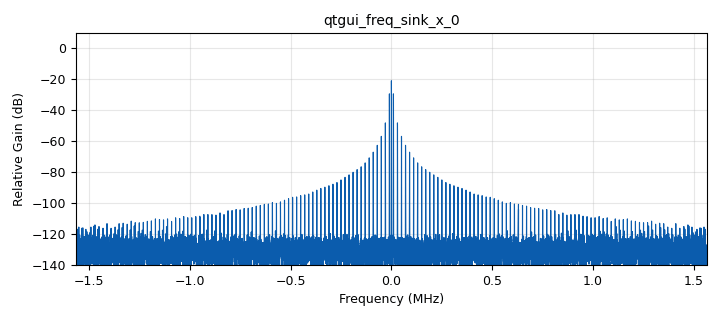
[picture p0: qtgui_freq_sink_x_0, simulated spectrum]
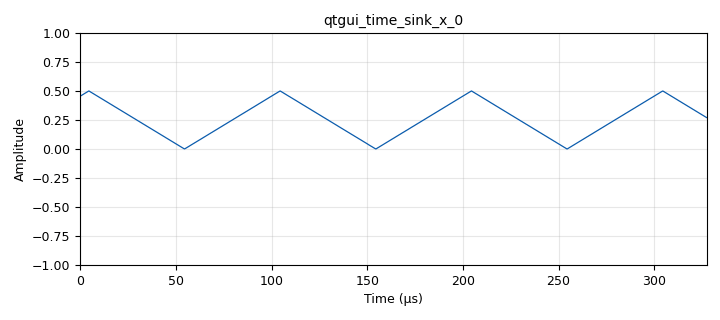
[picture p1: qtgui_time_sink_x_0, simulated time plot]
options:
  parameters:
    author: RafaelFerreira
    generate_options: qt_gui
    id: lab2_comu1_B1B_G4
    output_language: python
    title: labcom_RRFP
  states: {}

blocks:
- name: A
  id: variable_qtgui_range
  parameters:
    label: Amplitud de señal
    start: '0'
    step: '1e-2'
    stop: '500e-3'
    value: '500e-3'
  states: {}
- name: GTX
  id: variable_qtgui_range
  parameters:
    label: Ganancia del transmisor
    start: '0'
    step: '500e-3'
    stop: '30'
    value: '500e-3'
  states: {}
- name: 'No'
  id: variable_qtgui_range
  parameters:
    label: Amplitud ruido
    start: '0'
    step: '1e-6'
    stop: '1e-1'
    value: '1e-4'
  states: {}
- name: fc
  id: variable_qtgui_range
  parameters:
    label: Frecuencia portadora
    start: 50e6
    step: 100e3
    stop: 1e9
    value: 200e6
  states: {}
- name: fcut
  id: variable_qtgui_range
  parameters:
    start: '0'
    step: '100'
    stop: samp_rate/2
    value: samp_rate/2
  states: {}
- name: fm
  id: variable_qtgui_range
  parameters:
    label: Frecuencia de señal
    start: '1000'
    step: '1000'
    stop: 1e6
    value: 1e4
  states: {}
- name: samp_rate
  id: variable
  parameters:
    value: 25e6/8
  states: {}
- name: t_band
  id: variable_qtgui_range
  parameters:
    label: Banda de transicion
    start: '0'
    step: '100'
    stop: samp_rate/20
    value: samp_rate/200
  states: {}
- name: analog_noise_source_x_0
  id: analog_noise_source_x
  parameters:
    amp: 'No'
    noise_type: analog.GR_GAUSSIAN
    seed: '0'
    type: float
  states: {}
- name: analog_sig_source_x_0
  id: analog_sig_source_x
  parameters:
    amp: A
    freq: fm
    offset: '0'
    phase: '0'
    samp_rate: samp_rate
    type: float
    waveform: analog.GR_TRI_WAVE
  states: {}
- name: blocks_add_xx_0
  id: blocks_add_xx
  parameters:
    type: float
  states: {}
- name: blocks_float_to_complex_0
  id: blocks_float_to_complex
  parameters: {}
  states: {}
- name: blocks_throttle2_0
  id: blocks_throttle2
  parameters:
    samples_per_second: samp_rate
    type: float
  states: {}
- name: low_pass_filter_0
  id: low_pass_filter
  parameters:
    cutoff_freq: fcut
    decim: '1'
    gain: '1'
    samp_rate: samp_rate
    type: fir_filter_fff
    width: t_band
    win: window.WIN_HAMMING
  states: {}
- name: qtgui_freq_sink_x_0
  id: qtgui_freq_sink_x
  parameters:
    bw: samp_rate
    fc: '0'
    fftsize: '16384'
    type: float
  states: {}
- name: qtgui_time_sink_x_0
  id: qtgui_time_sink_x
  parameters:
    size: '1024'
    srate: samp_rate
    type: float
  states: {}
- name: uhd_usrp_sink_0
  id: uhd_usrp_sink
  parameters:
    ant0: '"TX/RX"'
    center_freq0: fc
    gain0: GTX
    samp_rate: samp_rate
    sync: pc_clock
    type: fc32
  states: {}

connections:
- [analog_noise_source_x_0, '0', blocks_add_xx_0, '1']
- [analog_sig_source_x_0, '0', blocks_throttle2_0, '0']
- [blocks_add_xx_0, '0', low_pass_filter_0, '0']
- [blocks_float_to_complex_0, '0', uhd_usrp_sink_0, '0']
- [blocks_throttle2_0, '0', blocks_add_xx_0, '0']
- [low_pass_filter_0, '0', blocks_float_to_complex_0, '0']
- [low_pass_filter_0, '0', qtgui_freq_sink_x_0, '0']
- [low_pass_filter_0, '0', qtgui_time_sink_x_0, '0']

metadata:
  file_format: 1
  grc_version: v3.11.0.0git-810-g1ecb8565
